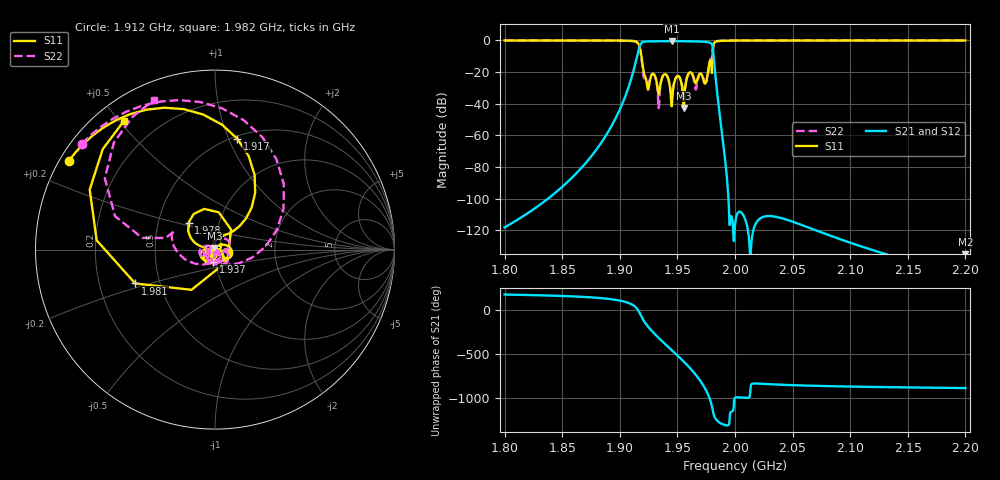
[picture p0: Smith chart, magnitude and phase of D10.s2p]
! Touchstone file exported from HFSS 2023.1.0
!  File:  E:/1.Project/CoxailF/seventhree.aedt
!  Generated:  3:13:21 %x4E0B%x5348  5%x6708 25, 2023
!  Design:  Resonator_out14
!  Project:  seventhree
!  Setup:  Setup1
!  Solution:  Sweep
! Variables:
!  Hin1 = 26mm
!  Hout = 29mm
!  L12 = 14.8mm
!  L13 = 14.8mm
!  L23 = 6.95mm
!  L34 = 12.5mm
!  L45 = 8.55mm
!  L46 = 3.85mm
!  L56 = 8.25mm
!  L67 = 12.5mm
!  L78 = 7.8mm
!  L79 = 13.2mm
!  L89 = 15.3mm
!  Rin = 5mm
!  Rin2 = 4mm
!  Rout = 15mm
!  Rport = 1.15mm
!  Rport2 = 3mm
!  Rportin = 0.5mm
!  d = 3mm
!  d01 = 2.9mm
!  d02 = 3.53mm
!  d03 = 3.66mm
!  d04 = 3.72mm
!  d05 = 3.73mm
!  d06 = 3.74mm
!  d07 = 3.67mm
!  d08 = 3.545mm
!  d09 = 2.915mm
!  d12 = 18mm
!  d12x = 15.5mm
!  d12y = 25mm
!  d23 = 18mm
!  d34 = 30mm
!  hport = 10.4mm
!  hport2 = 10.4mm
!  lport = 12mm
!  lport2 = 1mm
!  lport_2 = 12mm
!  m = 2mm
!  w12 = 12mm
!  w13 = 10mm
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# GHz S MA R 50.000000
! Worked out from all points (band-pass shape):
!   1001 points, 1.8 GHz to 2.2 GHz, reference 50 ohm
!   highest |S21| = -0.44 dB at 1.945 GHz (marker M1); lowest = -148.0 dB at 2.2 GHz (marker M2)
!   |S21| within 3 dB of the highest: 1.917 GHz to 1.98 GHz (63.02 MHz wide, 3.23 % of centre)
!   lowest |S11| = -42.6 dB at 1.956 GHz (marker M3), VSWR 1.01, Z = 49.6 + j0.646 ohm
!   |S11| at or under -10 dB: 1.919 GHz to 1.981 GHz (61.76 MHz wide, 3.17 % of centre)
!   |S22| runs from -42.8 to 0.0 dB; largest |S21 - S12| = 2e-10
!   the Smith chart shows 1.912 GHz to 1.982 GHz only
!   S11 on the Smith chart (normalised r, x): 1.912 GHz: 0.03, +0.28; 1.917 GHz: 0.53, +1.08; 1.937 GHz: 0.97, -0.13; 1.978 GHz: 0.71, +0.23; 1.981 GHz: 0.36, -0.18; 1.982 GHz: 0.08, +0.51
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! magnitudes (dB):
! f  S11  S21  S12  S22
! 1.8 GHz  0.0  -118.1  -118.1  0.0
! 1.867 GHz  0.0  -80.4  -80.4  0.0
! 1.894 GHz  -0.1  -51.9  -51.9  -0.1
! 1.912 GHz  -0.4  -17.7  -17.7  -0.5
! 1.917 GHz  -4.0  -3.8  -3.8  -4.3
! 1.923 GHz  -26.0  -0.6  -0.6  -25.2
! 1.929 GHz  -21.2  -0.5  -0.5  -21.2
! 1.934 GHz  -34.1  -0.5  -0.5  -42.8
! 1.937 GHz  -23.3  -0.5  -0.5  -23.5
! 1.945 GHz  -41.6  -0.4  -0.4  -34.5
! 1.95 GHz  -22.6  -0.5  -0.5  -22.4
! 1.956 GHz  -42.6  -0.5  -0.5  -33.8
! 1.96 GHz  -20.4  -0.5  -0.5  -20.4
! 1.974 GHz  -26.9  -0.9  -0.9  -26.1
! 1.978 GHz  -13.5  -1.5  -1.5  -13.6
! 1.981 GHz  -6.3  -5.2  -5.2  -4.6
! 1.982 GHz  -1.1  -17.7  -17.7  -0.9
! 1.992 GHz  -0.2  -79.4  -79.4  -0.1
! 2 GHz  -0.1  -116.6  -116.6  -0.1
! 2.067 GHz  0.0  -119.1  -119.1  0.0
! 2.134 GHz  0.0  -135.6  -135.6  0.0
! 2.2 GHz  0.0  -148.0  -148.0  0.0
